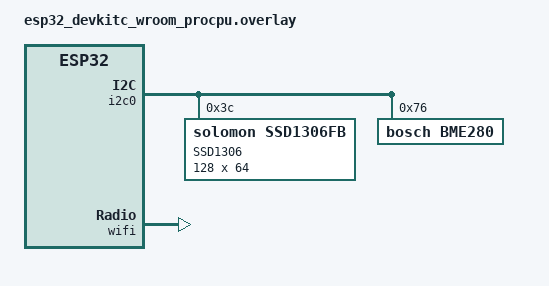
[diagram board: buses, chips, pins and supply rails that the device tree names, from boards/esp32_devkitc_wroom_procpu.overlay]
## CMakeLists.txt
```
cmake_minimum_required(VERSION 3.20.0)

set(BOARD esp32_devkitc_wroom/esp32/procpu)
find_package(Zephyr REQUIRED HINTS $ENV{ZEPHYR_BASE})
project(thermo-hygrometer)

zephyr_include_directories(src)

target_sources(app PRIVATE src/main.c src/bme280_sensor.h src/bme280_sensor.c src/wifi.h src/wifi.c 
    src/mqtt_publisher.c src/mqtt_publisher.h)
        
```

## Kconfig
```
config WIFI_SSID
    string "Wi-Fi SSID"
    default "YourSSID"

config WIFI_PASSWORD
    string "Wi-Fi Password"
    default "YourPassword"

config MQTT_BROKER_ADDRESS
    string "MQTT broker IPv4 address"
    default "192.168.2.221"

config MQTT_BROKER_PORT
    int "MQTT broker port"
    range 1 65535
    default 1883

source "Kconfig.zephyr"
```

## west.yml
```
manifest:
  self:
    path: app

  remotes:
    - name: zephyrproject-rtos
      url-base: https://github.com/zephyrproject-rtos

  projects:
    - name: zephyr
      remote: zephyrproject-rtos
      revision: v3.7.0
      import:
        path-prefix: deps
        name-allowlist:
          - zephyr
          - cmsis
          - hal_espressif
          - lvgl
          - mbedtls
```

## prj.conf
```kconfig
# Main stack and shell configuration
CONFIG_MAIN_STACK_SIZE=10240
# CONFIG_MAIN_STACK_SIZE=2048
CONFIG_SHELL=y
# CONFIG_SHELL_STACK_SIZE=5200
# CONFIG_SHELL_STACK_SIZE=2048
# Display and LVGL configuration
CONFIG_DISPLAY=y
CONFIG_LVGL=y
CONFIG_LV_CONF_MINIMAL=y
CONFIG_LV_Z_MEM_POOL_SIZE=32768
CONFIG_LV_Z_SHELL=y
CONFIG_LV_Z_VDB_SIZE=32

# Enable LVGL widgets
CONFIG_LV_USE_LABEL=y
CONFIG_LV_LABEL_TEXT_SELECTION=y
CONFIG_LV_LABEL_LONG_TXT_HINT=y
CONFIG_LV_USE_LINE=y
CONFIG_LV_USE_BTN=y
CONFIG_LV_USE_IMG=y

# Sensor configuration
CONFIG_SENSOR=y
CONFIG_SENSOR_ASYNC_API=y
CONFIG_CBPRINTF_FP_SUPPORT=y

# Network configuration
CONFIG_NETWORKING=y
CONFIG_NET_L2_ETHERNET=y

CONFIG_NET_IPV6=n
CONFIG_NET_IPV4=y
CONFIG_NET_DHCPV4=y


# Wi-Fi configuration
CONFIG_WIFI=y
CONFIG_WIFI_ESP32=y
CONFIG_WIFI_LOG_LEVEL_ERR=y
CONFIG_ESP32_WIFI_STA_AUTO_DHCPV4=y
CONFIG_NET_L2_WIFI_SHELL=y

# Networking stack configurations
CONFIG_NET_TX_STACK_SIZE=2048
CONFIG_NET_RX_STACK_SIZE=2048
CONFIG_NET_PKT_RX_COUNT=10
CONFIG_NET_PKT_TX_COUNT=10
CONFIG_NET_BUF_RX_COUNT=20
CONFIG_NET_BUF_TX_COUNT=20
CONFIG_NET_MAX_CONTEXTS=10

CONFIG_NET_TCP=y
CONFIG_NET_STATISTICS=y
CONFIG_NET_STATISTICS_PERIODIC_OUTPUT=n
CONFIG_NET_SHELL=y
CONFIG_NET_MGMT_EVENT_QUEUE_TIMEOUT=5000
CONFIG_NET_MGMT_EVENT_QUEUE_SIZE=16

# Debug and logging configuration
CONFIG_EARLY_CONSOLE=y
CONFIG_TEST_RANDOM_GENERATOR=y
CONFIG_INIT_STACKS=y

CONFIG_LOG=y
CONFIG_NET_LOG=y
CONFIG_LOG_DEFAULT_LEVEL=3
CONFIG_NET_SOCKETS_LOG_LEVEL_DBG=n
CONFIG_NET_HTTP_LOG_LEVEL_DBG=n

#MQTT 
CONFIG_MQTT_LIB=y


CONFIG_PRINTK=y
CONFIG_STDOUT_CONSOLE=yy
CONFIG_POSIX_API=y

# #User Wifi
# CONFIG_WIFI_SSID="WLAN-590163"
# CONFIG_WIFI_PASSWORD="83273011895803241695"


# CONFIG_WIFI_SSID="Muddasir’s iPhone"
# CONFIG_WIFI_PASSWORD="rescap10"


CONFIG_WIFI_SSID="FRITZ!Box 7560 DM"
CONFIG_WIFI_PASSWORD="05470841723328399389"

# #MQTT BROKER
# CONFIG_MQTT_HOST="192.168.2.230"
# CONFIG_MQTT_PORT=1883

CONFIG_MQTT_HOST="172.20.10.11"
CONFIG_MQTT_PORT=1883

# Enable SOCKS5 proxy support
CONFIG_SOCKS=n
CONFIG_DISPLAY_ON=y
```

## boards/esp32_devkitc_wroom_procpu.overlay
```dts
/ {
	chosen {
		zephyr,display = &ssd1306;
	};
};

&i2c0 {
    ssd1306: ssd1306@3c {
        compatible = "solomon,ssd1306fb";
        label = "SSD1306";
		reg = <0x3c>;
		width = <128>;
		height = <64>;
		segment-offset = <0>;
		page-offset = <0>;
		display-offset = <0>;
		multiplex-ratio = <63>;
		prechargep = <0x22>;
    };
	bme280@76 {
		compatible = "bosch,bme280";
		status = "okay";
		reg = <0x76>;
	};
};

&wifi {
	status = "okay";
};
```

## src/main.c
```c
/*
 * Copyright (c) 2018 Jan Van Winkel <jan.van_winkel@dxplore.eu>
 *
 * SPDX-License-Identifier: Apache-2.0
 */

#include <zephyr/device.h>
#include <zephyr/devicetree.h>
#include <zephyr/drivers/display.h>
#include <zephyr/drivers/gpio.h>
#include <lvgl.h>
#include <stdio.h>
#include <string.h>
#include <zephyr/kernel.h>
#include <lvgl_input_device.h>
#include "bme280_sensor.h"
#include "wifi.h"
#include "mqtt_publisher.h"
#include <zephyr/net/socket.h>
#include <zephyr/net/mqtt.h>

#define LOG_LEVEL CONFIG_LOG_DEFAULT_LEVEL
#include <zephyr/logging/log.h>
LOG_MODULE_REGISTER(app);

#define WIFI_SSID CONFIG_WIFI_SSID
#define WIFI_PASSWORD CONFIG_WIFI_PASSWORD
#define MQTT_HOST CONFIG_MQTT_HOST
#define MQTT_USERNAME CONFIG_MQTT_PASSWORD
#define MQTT_PASSWORD CONFIG_MQTT_PASSWORD
// /* The mqtt client struct */
static struct mqtt_client client_ctx;
int main(void)
{   
#ifdef DISPLAY_ON
	const struct device *display_dev;
	// struct mqtt_client client_ctx;
	lv_obj_t *bme280_data_label;

	display_dev = DEVICE_DT_GET(DT_CHOSEN(zephyr_display));
	if (!device_is_ready(display_dev)) {
		LOG_ERR("Device not ready, aborting test");
		return 0;
	}
	
    bme280_data_label = lv_label_create(lv_scr_act());
	lv_obj_align(bme280_data_label, LV_ALIGN_CENTER, 0, 0);
 	lv_task_handler();	
 	display_blanking_off(display_dev);
#endif
	if (check_bme280_device() == NULL)
    {	
		return -1;
    }

	wifi_connect(WIFI_SSID, WIFI_PASSWORD);
	start_publisher(&client_ctx);
	char data_str[100] = {0};
	char temperature_str[100] = {0};
	char humidity_str[100] = {0}; 
	
	while (1) {
		struct bme280_data data;
		if(get_bme280_data(&data) == -1){
#ifdef DISPLAY_ON
			lv_label_set_text(bme280_data_label, "Data Error");
#else
			LOG_ERR("Data Error");
#endif	
		} else {
			sprintf(temperature_str,"%.1f", data.temperature);
			sprintf(humidity_str,"%.1f", data.humidity);
			sprintf(data_str, "%.1f C \n%.1f %%", data.temperature, data.humidity);
#ifdef DISPLAY_ON
			lv_label_set_text(bme280_data_label, data_str);
#endif
			publish(&client_ctx, MQTT_QOS_0_AT_MOST_ONCE, "Temperature", temperature_str);
			publish(&client_ctx, MQTT_QOS_0_AT_MOST_ONCE, "Humidity", humidity_str);
		}
#ifdef DISPLAY_ON
		lv_task_handler();
#endif
		process_mqtt_and_sleep(&client_ctx);
		k_sleep(K_MSEC(1000));
	}
	return 0;
}
```

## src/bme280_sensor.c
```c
#include "bme280_sensor.h"
/*
 * Copyright (c) 2012-2014 Wind River Systems, Inc.
 * Copyright (c) 2021 Nordic Semiconductor ASA
 *
 * SPDX-License-Identifier: Apache-2.0
 */

#include <zephyr/kernel.h>
#include <zephyr/device.h>
#include <zephyr/devicetree.h>
#include <zephyr/drivers/sensor.h>
#include <zephyr/drivers/sensor_data_types.h>
#include <zephyr/rtio/rtio.h>
#include <zephyr/dsp/print_format.h>

const struct device *dev;

const struct device *check_bme280_device(void)
{

    dev = DEVICE_DT_GET_ANY(bosch_bme280);
    if (dev == NULL)
    {
        /* No such node, or the node does not have status "okay". */
        printk("\nError: no device found.\n");
        return NULL;
    }

    if (!device_is_ready(dev))
    {
        printk("\nError: Device \"%s\" is not ready; "
               "check the driver initialization logs for errors.\n",
               dev->name);
        return NULL;
    }

    printk("Found device \"%s\", getting sensor data\n", dev->name);
    return dev;
}

int get_bme280_data(struct bme280_data *data)
{
    struct sensor_value temp, hum;
    double temp_db, hum_db;
    if (sensor_sample_fetch(dev) < 0)
    {
        printf("Sensor sample update error\n");
        return -1;
    }
    if (sensor_channel_get(dev, SENSOR_CHAN_AMBIENT_TEMP, &temp) < 0)
    {
        printf("Cannot read BME280 temperature channel\n");
        return -1;
    }

    if (sensor_channel_get(dev, SENSOR_CHAN_HUMIDITY, &hum) < 0)
    {
        printf("Cannot read BME280 Humidity channel\n");
        return -1;
    }

    temp_db = sensor_value_to_double(&temp);
    hum_db = sensor_value_to_double(&hum);
    if (data != NULL)
    {
        data->humidity = hum_db;
        data->temperature = temp_db;
    }
    else
    {

        printf("Temperature:%.1f C Humidity :%.1f %% \n", temp_db, hum_db);
    }
    return 0;
}
```

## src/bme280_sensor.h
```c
#ifndef BME280_SENSOR_H_
#define BME280_SENSOR_H_

#include <zephyr/kernel.h>
#include <zephyr/device.h>
#include <zephyr/devicetree.h>
#include <zephyr/drivers/sensor.h>
#include <zephyr/drivers/sensor_data_types.h>
#include <zephyr/rtio/rtio.h>
#include <zephyr/dsp/print_format.h>

struct bme280_data
{
	double temperature;
	double humidity;
};

const struct device *check_bme280_device(void);
int get_bme280_data(struct bme280_data *data);
#endif
```

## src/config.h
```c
/*
 * Copyright (c) 2017 Intel Corporation
 *
 * SPDX-License-Identifier: Apache-2.0
 */

#ifndef __CONFIG_H__
#define __CONFIG_H__

#define SERVER_ADDR		CONFIG_MQTT_BROKER_ADDRESS
#define SERVER_PORT		CONFIG_MQTT_BROKER_PORT

#define APP_CONNECT_TIMEOUT_MS	2000
#define APP_MQTT_POLL_TIMEOUT_MS	50
#define APP_RECONNECT_DELAY_MS	1000

#define APP_CONNECT_TRIES	10

#define APP_MQTT_BUFFER_SIZE	128

#define MQTT_CLIENTID		"zephyr_publisher"

/* Set the following to 1 to enable the Bluemix topic format */
#define APP_BLUEMIX_TOPIC	0

/* These are the parameters for the Bluemix topic format */
#if APP_BLUEMIX_TOPIC
#define BLUEMIX_DEVTYPE		"sensor"
#define BLUEMIX_DEVID		"carbon"
#define BLUEMIX_EVENT		"status"
#define BLUEMIX_FORMAT		"json"
#endif

#endif
```

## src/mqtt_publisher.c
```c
#include <mqtt_publisher.h>
#include <zephyr/logging/log.h>
LOG_MODULE_REGISTER(mqtt_publisher, LOG_LEVEL_DBG);

#include <zephyr/kernel.h>
#include <zephyr/net/socket.h>
#include <zephyr/net/mqtt.h>
#include <zephyr/random/random.h>

#include <string.h>
#include <errno.h>

#include "config.h"
#define APP_BMEM
#define APP_DMEM
#define CONFIG_NET_SAMPLE_APP_MAX_ITERATIONS 3
#define CONFIG_NET_SAMPLE_APP_MAX_CONNECTIONS 3

/* Buffers for MQTT client. */
static APP_BMEM uint8_t rx_buffer[APP_MQTT_BUFFER_SIZE];
static APP_BMEM uint8_t tx_buffer[APP_MQTT_BUFFER_SIZE];

// /* The mqtt client struct */
// static APP_BMEM struct mqtt_client client_ctx;

/* MQTT Broker details. */
static APP_BMEM struct sockaddr_storage broker;

static APP_BMEM struct pollfd fds[1];
static APP_BMEM int nfds;

static APP_BMEM bool connected;

static void prepare_fds(struct mqtt_client *client)
{
	if (client->transport.type == MQTT_TRANSPORT_NON_SECURE) {
		fds[0].fd = client->transport.tcp.sock;
	}

	fds[0].events = POLLIN;
	nfds = 1;
}

static void clear_fds(void)
{
	nfds = 0;
}

static int wait(int timeout)
{
	int ret = 0;

	if (nfds > 0) {
		ret = poll(fds, nfds, timeout);
		if (ret < 0) {
			LOG_ERR("poll error: %d", errno);
		}
	}

	return ret;
}

void mqtt_evt_handler(struct mqtt_client *const client,
		      const struct mqtt_evt *evt)
{
	int err;

	switch (evt->type) {
	case MQTT_EVT_CONNACK:
		if (evt->result != 0) {
			LOG_ERR("MQTT connect failed %d", evt->result);
			break;
		}

		connected = true;
		LOG_INF("MQTT client connected!");

		break;

	case MQTT_EVT_DISCONNECT:
		LOG_INF("MQTT client disconnected %d", evt->result);

		connected = false;
		clear_fds();

		break;

	case MQTT_EVT_PUBACK:
		if (evt->result != 0) {
			LOG_ERR("MQTT PUBACK error %d", evt->result);
			break;
		}

		LOG_INF("PUBACK packet id: %u", evt->param.puback.message_id);

		break;

	case MQTT_EVT_PUBREC:
		if (evt->result != 0) {
			LOG_ERR("MQTT PUBREC error %d", evt->result);
			break;
		}

		LOG_INF("PUBREC packet id: %u", evt->param.pubrec.message_id);

		const struct mqtt_pubrel_param rel_param = {
			.message_id = evt->param.pubrec.message_id
		};

		err = mqtt_publish_qos2_release(client, &rel_param);
		if (err != 0) {
			LOG_ERR("Failed to send MQTT PUBREL: %d", err);
		}

		break;

	case MQTT_EVT_PUBCOMP:
		if (evt->result != 0) {
			LOG_ERR("MQTT PUBCOMP error %d", evt->result);
			break;
		}

		LOG_INF("PUBCOMP packet id: %u",
			evt->param.pubcomp.message_id);

		break;

	case MQTT_EVT_PINGRESP:
		LOG_INF("PINGRESP packet");
		break;

	default:
		break;
	}
}

static char *get_mqtt_payload(enum mqtt_qos qos)
{
#if APP_BLUEMIX_TOPIC
	static APP_BMEM char payload[30];

	snprintk(payload, sizeof(payload), "{d:{temperature:%d}}",
		 sys_rand8_get());
#else
	static APP_DMEM char payload[] = "DOORS:OPEN_QoSx";

	payload[strlen(payload) - 1] = '0' + qos;
#endif

	return payload;
}

static char *get_mqtt_topic(void)
{
#if APP_BLUEMIX_TOPIC
	return "iot-2/type/"BLUEMIX_DEVTYPE"/id/"BLUEMIX_DEVID
	       "/evt/"BLUEMIX_EVENT"/fmt/"BLUEMIX_FORMAT;
#else
	return "sensors";
#endif
}

int publish(struct mqtt_client *client, enum mqtt_qos qos, const char* topic, const char* message)
{
	struct mqtt_publish_param param;

	param.message.topic.qos = qos;
	param.message.topic.topic.utf8 = (uint8_t *)topic;
	param.message.topic.topic.size =
			strlen(param.message.topic.topic.utf8);
	param.message.payload.data = message;
	param.message.payload.len =
			strlen(param.message.payload.data);
	param.message_id = sys_rand16_get();
	param.dup_flag = 0U;
	param.retain_flag = 0U;

	return mqtt_publish(client, &param);
}

#define RC_STR(rc) ((rc) == 0 ? "OK" : "ERROR")

#define PRINT_RESULT(func, rc) \
	LOG_INF("%s: %d <%s>", (func), rc, RC_STR(rc))

static void broker_init(void)
{
	struct sockaddr_in *broker4 = (struct sockaddr_in *)&broker;

	broker4->sin_family = AF_INET;
	broker4->sin_port = htons(SERVER_PORT);
	inet_pton(AF_INET, SERVER_ADDR, &broker4->sin_addr);
}

static void client_init(struct mqtt_client *client)
{
	mqtt_client_init(client);

	broker_init();

	/* MQTT client configuration */
	client->broker = &broker;
	client->evt_cb = mqtt_evt_handler;
	client->client_id.utf8 = (uint8_t *)MQTT_CLIENTID;
	client->client_id.size = strlen(MQTT_CLIENTID);
	client->password = NULL;
	client->user_name = NULL;
	client->protocol_version = MQTT_VERSION_3_1_1;

	/* MQTT buffers configuration */
	client->rx_buf = rx_buffer;
	client->rx_buf_size = sizeof(rx_buffer);
	client->tx_buf = tx_buffer;
	client->tx_buf_size = sizeof(tx_buffer);

	/* MQTT transport configuration */
	client->transport.type = MQTT_TRANSPORT_NON_SECURE;
}

/* In this routine we block until the connected variable is 1 */
static int try_to_connect(struct mqtt_client *client)
{
	int rc, i = 0;

	while (i++ < APP_CONNECT_TRIES && !connected) {

		client_init(client);

		rc = mqtt_connect(client);
		if (rc != 0) {
			PRINT_RESULT("mqtt_connect", rc);
			k_sleep(K_MSEC(APP_RECONNECT_DELAY_MS));
			continue;
		}

		prepare_fds(client);

		if (wait(APP_CONNECT_TIMEOUT_MS)) {
			mqtt_input(client);
		}

		if (!connected) {
			mqtt_abort(client);
		}
	}

	if (connected) {
		return 0;
	}

	return -EINVAL;
}

int process_mqtt_and_sleep(struct mqtt_client *client)
{
	if (!client)
		return -1;
	int timeout = APP_MQTT_POLL_TIMEOUT_MS;
	int64_t remaining = timeout;
	int64_t start_time = k_uptime_get();
	int rc;

	while (remaining > 0 && connected) {
		if (wait(remaining)) {
			rc = mqtt_input(client);
			if (rc != 0) {
				PRINT_RESULT("mqtt_input", rc);
				return rc;
			}
		}

		rc = mqtt_live(client);
		if (rc != 0 && rc != -EAGAIN) {
			PRINT_RESULT("mqtt_live", rc);
			return rc;
		} else if (rc == 0) {
			rc = mqtt_input(client);
			if (rc != 0) {
				PRINT_RESULT("mqtt_input", rc);
				return rc;
			}
		}

		remaining = timeout + start_time - k_uptime_get();
	}

	return 0;
}

#define SUCCESS_OR_EXIT(rc) { if (rc != 0) { return 1; } }
#define SUCCESS_OR_BREAK(rc) { if (rc != 0) { break; } }

// static int publisher(void)
// {
// 	int i, rc, r = 0;

// 	LOG_INF("attempting to connect: ");
// 	rc = try_to_connect(&client_ctx);
// 	PRINT_RESULT("try_to_connect", rc);
// 	SUCCESS_OR_EXIT(rc);

// 	i = 0;
// 	while (i++ < CONFIG_NET_SAMPLE_APP_MAX_ITERATIONS && connected) {
// 		r = -1;
// 		rc = process_mqtt_and_sleep(&client_ctx, APP_SLEEP_MSECS);
// 		SUCCESS_OR_BREAK(rc);

// 		rc = publish(&client_ctx, MQTT_QOS_0_AT_MOST_ONCE);
// 		PRINT_RESULT("mqtt_publish", rc);
// 		SUCCESS_OR_BREAK(rc);

// 		rc = process_mqtt_and_sleep(&client_ctx, APP_SLEEP_MSECS);
// 		SUCCESS_OR_BREAK(rc);
// RINT_RESULT("mqtt_publish", rc);
// 		SUCCESS_OR_BREAK(rc);

// 		rc = process_mqtt_and_sleep(&client_ctx, APP_SLEEP_MSECS);
// 		SUCCESS_OR_BREAK(rc);

// 		rc = publish(&client_ctx, MQTT_QOS_2_EXACTLY_ONCE);
// 		PRINT_RESULT("mqtt_publish", rc);
// 		S
// 		rc = publish(&client_ctx, MQTT_QOS_1_AT_LEAST_ONCE);
// 		PUCCESS_OR_BREAK(rc);

// 		rc = process_mqtt_and_sleep(&client_ctx, APP_SLEEP_MSECS);
// 		SUCCESS_OR_BREAK(rc);

// 		r = 0;
// 	}

// 	rc = mqtt_disconnect(&client_ctx);
// 	PRINT_RESULT("mqtt_disconnect", rc);

// 	LOG_INF("Bye!");

// 	return r;
// }

int start_publisher(struct mqtt_client *client)
{
	int rc;
	LOG_INF("attempting to connect to %s:%d", SERVER_ADDR, SERVER_PORT);
	rc = try_to_connect(client);
	PRINT_RESULT("try_to_connect", rc);
	SUCCESS_OR_EXIT(rc);

	return 0;
}
```

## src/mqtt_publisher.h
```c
#ifndef MQTT_PUBLISHER_H_
#define MQTT_PUBLISHER_H_
#include <zephyr/kernel.h>
#include <zephyr/net/socket.h>
#include <zephyr/net/mqtt.h>
#include <zephyr/random/random.h>

#include <string.h>
#include <errno.h>

#include "config.h"

int start_publisher(struct mqtt_client *client);
int process_mqtt_and_sleep(struct mqtt_client *client);
int publish(struct mqtt_client *client, enum mqtt_qos qos, const char* topic, const char* message);
#endif
```

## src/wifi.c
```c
#include "wifi.h"

LOG_MODULE_REGISTER(wifi);
#define WIFI_SSID CONFIG_WIFI_SSID
#define WIFI_PASSWORD CONFIG_WIFI_PASSWORD

static int connected;
static struct net_mgmt_event_callback wifi_shell_mgmt_cb;

static void handle_wifi_connect_result(struct net_mgmt_event_callback *cb)
{
	const struct wifi_status *status = (const struct wifi_status *)
					   cb->info;

	if (status->status) {
		LOG_ERR("Connection request failed (%d)", status->status);
	} else {
		LOG_INF("WIFI Connected");
		connected = 1;
	}
}

static void handle_wifi_disconnect_result(struct net_mgmt_event_callback *cb)
{
	const struct wifi_status *status = (const struct wifi_status *)
					   cb->info;

	if (status->status) {
		LOG_ERR("Disconnection request failed (%d)", status->status);
	} else {
		LOG_INF("WIFI Disconnect");
		connected = 0;
	}
}

static void wifi_mgmt_event_handler(struct net_mgmt_event_callback *cb,
				    uint32_t mgmt_event, struct net_if *iface)
{
	switch (mgmt_event) {
	case NET_EVENT_WIFI_CONNECT_RESULT:
		handle_wifi_connect_result(cb);
		break;
    case NET_EVENT_WIFI_DISCONNECT_RESULT:
        handle_wifi_disconnect_result(cb);
		break;
	default:
		break;
	}
}

void wifi_connect(const char* ssid, const char* password)
{
	int nr_tries = 10;
	int ret = 0;

	net_mgmt_init_event_callback(&wifi_shell_mgmt_cb,
				     wifi_mgmt_event_handler,
				     NET_EVENT_WIFI_CONNECT_RESULT);

	net_mgmt_add_event_callback(&wifi_shell_mgmt_cb);

	struct net_if *iface = net_if_get_default();
	struct wifi_connect_req_params cnx_params = {
		.ssid = ssid,
		.ssid_length = 0,
		.psk = password,
		.psk_length = 0,
		.channel = 0,
		.security = WIFI_SECURITY_TYPE_PSK,
		.bssid = {0xE0, 0x28, 0x6D, 0xF5, 0x04, 0x05},
	};

	
	// .band = WIFI_FREQ_BAND_2_4_GHZ,
	cnx_params.ssid_length = strlen(ssid);
	cnx_params.psk_length = strlen(password);

	connected = 0;

	LOG_INF("WIFI try connecting to %s...", ssid);

	/* Let's wait few seconds to allow wifi device be on-line */
	while (nr_tries-- > 0) {
		ret = net_mgmt(NET_REQUEST_WIFI_CONNECT, iface, &cnx_params,
			       sizeof(struct wifi_connect_req_params));
		if (ret == 0) {
			break;
		}

		LOG_INF("Connect request failed %d. Waiting iface be up...", ret);
		k_msleep(500);
	}

	while (connected == 0) {
		k_msleep(100);
	}
}
```

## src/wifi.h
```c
#ifndef WIFI_H_
#define WIFI_H_
#include <zephyr/logging/log.h>

#include <zephyr/net/wifi_mgmt.h>
void wifi_connect(const char* ssid, const char* password);

#endif
```
